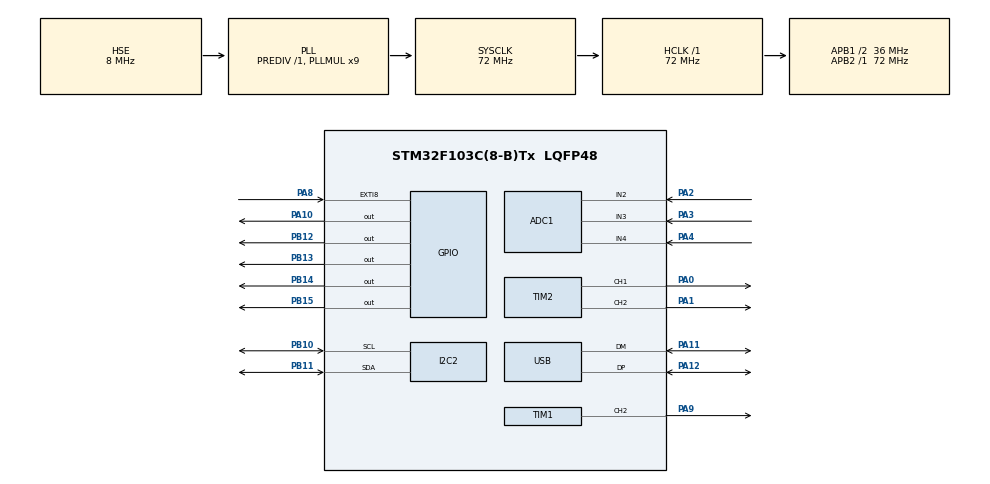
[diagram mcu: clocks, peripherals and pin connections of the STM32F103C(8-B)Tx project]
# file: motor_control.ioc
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ADC1.Channel-0\#ChannelRegularConversion=ADC_CHANNEL_2
ADC1.NbrOfConversionFlag=1
ADC1.Rank-0\#ChannelRegularConversion=1
ADC1.SamplingTime-0\#ChannelRegularConversion=ADC_SAMPLETIME_1CYCLE_5
ADC1.master=1
Mcu.Family=STM32F1
Mcu.Name=STM32F103C(8-B)Tx
Mcu.Package=LQFP48
NVIC.PriorityGroup=NVIC_PRIORITYGROUP_4
NVIC.USB_LP_CAN1_RX0_IRQn=true\:0\:0\:false\:false\:true\:false\:true\:true
PA0-WKUP.Signal=S_TIM2_CH1_ETR
PA1.Signal=S_TIM2_CH2
PA10.Signal=GPIO_Output
PA11.Mode=Device
PA11.Signal=USB_DM
PA12.Mode=Device
PA12.Signal=USB_DP
PA13.Mode=Serial_Wire
PA13.Signal=SYS_JTMS-SWDIO
PA14.Mode=Serial_Wire
PA14.Signal=SYS_JTCK-SWCLK
PA2.Signal=ADCx_IN2
PA3.Signal=ADCx_IN3
PA4.Signal=ADCx_IN4
PA6.Signal=S_TIM3_CH1
PA7.Signal=S_TIM3_CH2
PA8.GPIO_ModeDefaultEXTI=GPIO_MODE_IT_RISING_FALLING
PA8.Signal=GPXTI8
PA9.Signal=S_TIM1_CH2
PB10.Mode=I2C
PB10.Signal=I2C2_SCL
PB11.Mode=I2C
PB11.Signal=I2C2_SDA
PB12.Signal=GPIO_Output
PB13.Signal=GPIO_Output
PB14.Signal=GPIO_Output
PB15.Signal=GPIO_Output
PB6.Signal=S_TIM4_CH1
PB7.Signal=S_TIM4_CH2
PD0-OSC_IN.Mode=HSE-External-Oscillator
PD0-OSC_IN.Signal=RCC_OSC_IN
PD1-OSC_OUT.Mode=HSE-External-Oscillator
PD1-OSC_OUT.Signal=RCC_OSC_OUT
ProjectManager.HeapSize=0x200
ProjectManager.StackSize=0x400
ProjectManager.TargetToolchain=CMake
RCC.ADCPresc=RCC_ADCPCLK2_DIV6
RCC.AHBFreq_Value=72000000
RCC.APB1CLKDivider=RCC_HCLK_DIV2
RCC.APB1Freq_Value=36000000
RCC.APB1TimFreq_Value=72000000
RCC.APB2Freq_Value=72000000
RCC.APB2TimFreq_Value=72000000
RCC.HCLKFreq_Value=72000000
RCC.PLLMUL=RCC_PLL_MUL9
RCC.SYSCLKFreq_VALUE=72000000
RCC.SYSCLKSource=RCC_SYSCLKSOURCE_PLLCLK
RCC.USBFreq_Value=48000000
RCC.USBPrescaler=RCC_USBCLKSOURCE_PLL_DIV1_5
SH.ADCx_IN2.0=ADC1_IN2,IN2
SH.ADCx_IN3.0=ADC1_IN3,IN3
SH.ADCx_IN4.0=ADC1_IN4,IN4
SH.S_TIM1_CH2.0=TIM1_CH2,PWM Generation2 CH2
SH.S_TIM2_CH1_ETR.0=TIM2_CH1,PWM Generation1 CH1
SH.S_TIM2_CH2.0=TIM2_CH2,PWM Generation2 CH2
SH.S_TIM3_CH1.0=TIM3_CH1
SH.S_TIM3_CH2.0=TIM3_CH2
SH.S_TIM4_CH1.0=TIM4_CH1
SH.S_TIM4_CH2.0=TIM4_CH2
TIM1.Channel-PWM\ Generation2\ CH2=TIM_CHANNEL_2
TIM2.Channel-PWM\ Generation1\ CH1=TIM_CHANNEL_1
TIM2.Channel-PWM\ Generation2\ CH2=TIM_CHANNEL_2
USB_DEVICE.CLASS_NAME_FS=CDC
USB_DEVICE.VirtualMode=Cdc
USB_DEVICE.VirtualModeFS=Cdc_FS
VP_TIM1_VS_ClockSourceINT.Mode=Internal
VP_TIM2_VS_ClockSourceINT.Mode=Internal
VP_USB_DEVICE_VS_USB_DEVICE_CDC_FS.Mode=CDC_FS
board=custom

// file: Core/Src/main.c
/* USER CODE BEGIN Header */
/**
  ******************************************************************************
  * @file           : main.c
  * @brief          : Main program body
  ******************************************************************************
  * @attention
  *
  * Copyright (c) 2026 STMicroelectronics.
  * All rights reserved.
  *
  * This software is licensed under terms that can be found in the LICENSE file
  * in the root directory of this software component.
  * If no LICENSE file comes with this software, it is provided AS-IS.
  *
  ******************************************************************************
  */
/* USER CODE END Header */
#include "main.h"
#include "usb_device.h"

/* USER CODE BEGIN Includes */
#include "usbd_cdc_if.h"
/* USER CODE END Includes */

ADC_HandleTypeDef hadc1;

I2C_HandleTypeDef hi2c2;

TIM_HandleTypeDef htim1;
TIM_HandleTypeDef htim2;

/* USER CODE BEGIN PV */
static uint32_t last_heartbeat_tick = 0;
static volatile uint32_t sonar_echo_start = 0;
static volatile uint8_t sonar_measuring = 0;
static volatile float sonar_distance_cm = 0;
static uint32_t last_sonar_trigger_tick = 0;

#define SONAR_TRIGGER_INTERVAL_MS  100
#define SONAR_TIMEOUT_MS          25
#define SONAR_SAFETY_DIST_CM      10.0f

static volatile uint32_t adc_values[3] = {0};
DMA_HandleTypeDef hdma_adc1;

#define LEFT_IN1_PIN   GPIO_PIN_12
#define LEFT_IN2_PIN   GPIO_PIN_13
#define RIGHT_IN3_PIN  GPIO_PIN_14
#define RIGHT_IN4_PIN  GPIO_PIN_15
#define MOTOR_PORT     GPIOB
#define TIM2_ARR       35999
/* USER CODE END PV */

void SystemClock_Config(void);
static void MX_GPIO_Init(void);
static void MX_ADC1_Init(void);
static void MX_I2C2_Init(void);
static void MX_TIM1_Init(void);
static void MX_TIM2_Init(void);
/* USER CODE BEGIN PFP */
void HAL_GPIO_EXTI_Callback(uint16_t GPIO_Pin);
/* USER CODE END PFP */

int main(void)
{

  /* MCU Configuration--------------------------------------------------------*/

  /* Reset of all peripherals, Initializes the Flash interface and the Systick. */
  HAL_Init();

  /* Configure the system clock */
  SystemClock_Config();

  /* Initialize all configured peripherals */
  MX_GPIO_Init();
  MX_ADC1_Init();
  MX_I2C2_Init();
  MX_TIM1_Init();
  MX_TIM2_Init();
  MX_USB_DEVICE_Init();
  /* USER CODE BEGIN 2 */
  CoreDebug->DEMCR |= CoreDebug_DEMCR_TRCENA_Msk;
  DWT->CTRL |= DWT_CTRL_CYCCNTENA_Msk;
  DWT->CYCCNT = 0;

  __HAL_RCC_DMA1_CLK_ENABLE();
  hdma_adc1.Instance = DMA1_Channel1;
  hdma_adc1.Init.Direction = DMA_PERIPH_TO_MEMORY;
  hdma_adc1.Init.PeriphInc = DMA_PINC_DISABLE;
  hdma_adc1.Init.MemInc = DMA_MINC_ENABLE;
  hdma_adc1.Init.PeriphDataAlignment = DMA_PDATAALIGN_WORD;
  hdma_adc1.Init.MemDataAlignment = DMA_MDATAALIGN_WORD;
  hdma_adc1.Init.Mode = DMA_CIRCULAR;
  hdma_adc1.Init.Priority = DMA_PRIORITY_LOW;
  HAL_DMA_Init(&hdma_adc1);
  __HAL_LINKDMA(&hadc1, DMA_Handle, hdma_adc1);

  HAL_ADC_Start_DMA(&hadc1, (uint32_t*)adc_values, 3);

  HAL_TIM_PWM_Start(&htim2, TIM_CHANNEL_1);
  HAL_TIM_PWM_Start(&htim2, TIM_CHANNEL_2);
  HAL_TIM_PWM_Start(&htim1, TIM_CHANNEL_2);
  /* USER CODE END 2 */

  /* Infinite loop */
  while (1)
  {

    /* USER CODE BEGIN 3 */
    uint32_t now = HAL_GetTick();

    if (now - last_sonar_trigger_tick >= SONAR_TRIGGER_INTERVAL_MS) {
      last_sonar_trigger_tick = now;
      sonar_measuring = 1;
      HAL_GPIO_WritePin(GPIOA, GPIO_PIN_10, GPIO_PIN_SET);
      uint32_t t = DWT->CYCCNT;
      while ((DWT->CYCCNT - t) < (72 * 10)); // 10us @ 72MHz
      HAL_GPIO_WritePin(GPIOA, GPIO_PIN_10, GPIO_PIN_RESET);
    }

    if (sonar_measuring && (now - last_sonar_trigger_tick >= SONAR_TIMEOUT_MS)) {
      sonar_measuring = 0;
      sonar_distance_cm = -1.0f;
    }

    uint32_t joy_x = adc_values[0]; // PA0
    uint32_t joy_y = adc_values[1]; // PA1
    uint32_t pot_speed = adc_values[2]; // PA2
    uint8_t safety_stop = (sonar_distance_cm > 0 && sonar_distance_cm < SONAR_SAFETY_DIST_CM);

    int32_t left_pwm, right_pwm;

    if (safety_stop) {
      left_pwm = 0;
      right_pwm = 0;
    } else {
      float v_base = ((float)pot_speed / 4095.0f) * TIM2_ARR;
      float joy_x_norm = ((int32_t)joy_x - 2047) / 2047.0f;
      float delta_v = joy_x_norm * v_base;

      float joy_y_norm = ((int32_t)joy_y - 2047) / 2047.0f;
      float v_y = joy_y_norm * v_base;

      left_pwm  = (int32_t)(v_y + delta_v);
      right_pwm = (int32_t)(v_y - delta_v);

      if (left_pwm > TIM2_ARR)  left_pwm = TIM2_ARR;
      if (left_pwm < -TIM2_ARR) left_pwm = -TIM2_ARR;
      if (right_pwm > TIM2_ARR) right_pwm = TIM2_ARR;
      if (right_pwm < -TIM2_ARR) right_pwm = -TIM2_ARR;
    }

    if (left_pwm >= 0) {
      HAL_GPIO_WritePin(MOTOR_PORT, LEFT_IN1_PIN,  GPIO_PIN_SET);
      HAL_GPIO_WritePin(MOTOR_PORT, LEFT_IN2_PIN,  GPIO_PIN_RESET);
      __HAL_TIM_SET_COMPARE(&htim2, TIM_CHANNEL_1, left_pwm);
    } else {
      HAL_GPIO_WritePin(MOTOR_PORT, LEFT_IN1_PIN,  GPIO_PIN_RESET);
      HAL_GPIO_WritePin(MOTOR_PORT, LEFT_IN2_PIN,  GPIO_PIN_SET);
      __HAL_TIM_SET_COMPARE(&htim2, TIM_CHANNEL_1, -left_pwm);
    }

    if (right_pwm >= 0) {
      HAL_GPIO_WritePin(MOTOR_PORT, RIGHT_IN3_PIN, GPIO_PIN_SET);
      HAL_GPIO_WritePin(MOTOR_PORT, RIGHT_IN4_PIN, GPIO_PIN_RESET);
      __HAL_TIM_SET_COMPARE(&htim2, TIM_CHANNEL_2, right_pwm);
    } else {
      HAL_GPIO_WritePin(MOTOR_PORT, RIGHT_IN3_PIN, GPIO_PIN_RESET);
      HAL_GPIO_WritePin(MOTOR_PORT, RIGHT_IN4_PIN, GPIO_PIN_SET);
      __HAL_TIM_SET_COMPARE(&htim2, TIM_CHANNEL_2, -right_pwm);
    }

    if (now - last_heartbeat_tick >= 100) {
      last_heartbeat_tick = now;
      printf("$DATA,%ld,%ld,%.1f,%d\n",
             (int32_t)left_pwm, (int32_t)right_pwm,
             (double)sonar_distance_cm, safety_stop ? 1 : 0);
    }

    CDC_Flush_Tx();
  }
  /* USER CODE END 3 */
}

void SystemClock_Config(void)
{
  RCC_OscInitTypeDef RCC_OscInitStruct = {0};
  RCC_ClkInitTypeDef RCC_ClkInitStruct = {0};
  RCC_PeriphCLKInitTypeDef PeriphClkInit = {0};

  /** Initializes the RCC Oscillators according to the specified parameters
  * in the RCC_OscInitTypeDef structure.
  */
  RCC_OscInitStruct.OscillatorType = RCC_OSCILLATORTYPE_HSE;
  RCC_OscInitStruct.HSEState = RCC_HSE_ON;
  RCC_OscInitStruct.HSEPredivValue = RCC_HSE_PREDIV_DIV1;
  RCC_OscInitStruct.HSIState = RCC_HSI_ON;
  RCC_OscInitStruct.PLL.PLLState = RCC_PLL_ON;
  RCC_OscInitStruct.PLL.PLLSource = RCC_PLLSOURCE_HSE;
  RCC_OscInitStruct.PLL.PLLMUL = RCC_PLL_MUL9;
  if (HAL_RCC_OscConfig(&RCC_OscInitStruct) != HAL_OK)
  {
    Error_Handler();
  }

  /** Initializes the CPU, AHB and APB buses clocks
  */
  RCC_ClkInitStruct.ClockType = RCC_CLOCKTYPE_HCLK|RCC_CLOCKTYPE_SYSCLK
                              |RCC_CLOCKTYPE_PCLK1|RCC_CLOCKTYPE_PCLK2;
  RCC_ClkInitStruct.SYSCLKSource = RCC_SYSCLKSOURCE_PLLCLK;
  RCC_ClkInitStruct.AHBCLKDivider = RCC_SYSCLK_DIV1;
  RCC_ClkInitStruct.APB1CLKDivider = RCC_HCLK_DIV2;
  RCC_ClkInitStruct.APB2CLKDivider = RCC_HCLK_DIV1;

  if (HAL_RCC_ClockConfig(&RCC_ClkInitStruct, FLASH_LATENCY_2) != HAL_OK)
  {
    Error_Handler();
  }
  PeriphClkInit.PeriphClockSelection = RCC_PERIPHCLK_ADC|RCC_PERIPHCLK_USB;
  PeriphClkInit.AdcClockSelection = RCC_ADCPCLK2_DIV6;
  PeriphClkInit.UsbClockSelection = RCC_USBCLKSOURCE_PLL_DIV1_5;
  if (HAL_RCCEx_PeriphCLKConfig(&PeriphClkInit) != HAL_OK)
  {
    Error_Handler();
  }
}

static void MX_ADC1_Init(void)
{

  ADC_ChannelConfTypeDef sConfig = {0};

  /* USER CODE BEGIN ADC1_Init 1 */
  hadc1.Init.ContinuousConvMode = ENABLE;
  hadc1.Init.ScanConvMode = ENABLE;
  hadc1.Init.NbrOfConversion = 3;
  /* USER CODE END ADC1_Init 1 */

  /** Common config
  */
  hadc1.Instance = ADC1;
  hadc1.Init.ScanConvMode = ADC_SCAN_DISABLE;
  hadc1.Init.ContinuousConvMode = DISABLE;
  hadc1.Init.DiscontinuousConvMode = DISABLE;
  hadc1.Init.ExternalTrigConv = ADC_SOFTWARE_START;
  hadc1.Init.DataAlign = ADC_DATAALIGN_RIGHT;
  hadc1.Init.NbrOfConversion = 1;
  if (HAL_ADC_Init(&hadc1) != HAL_OK)
  {
    Error_Handler();
  }

  /** Configure Regular Channel
  */
  sConfig.Channel = ADC_CHANNEL_2;
  sConfig.Rank = ADC_REGULAR_RANK_1;
  sConfig.SamplingTime = ADC_SAMPLETIME_1CYCLE_5;
  if (HAL_ADC_ConfigChannel(&hadc1, &sConfig) != HAL_OK)
  {
    Error_Handler();
  }
  /* USER CODE BEGIN ADC1_Init 2 */
  hadc1.Init.ContinuousConvMode = ENABLE;
  hadc1.Init.ScanConvMode = ENABLE;
  hadc1.Init.NbrOfConversion = 3;

  sConfig.Channel = ADC_CHANNEL_0;
  sConfig.Rank = ADC_REGULAR_RANK_2;
  sConfig.SamplingTime = ADC_SAMPLETIME_1CYCLE_5;
  if (HAL_ADC_ConfigChannel(&hadc1, &sConfig) != HAL_OK) {
    Error_Handler();
  }

  sConfig.Channel = ADC_CHANNEL_1;
  sConfig.Rank = ADC_REGULAR_RANK_3;
  if (HAL_ADC_ConfigChannel(&hadc1, &sConfig) != HAL_OK) {
    Error_Handler();
  }
  /* USER CODE END ADC1_Init 2 */

}

static void MX_I2C2_Init(void)
{

  hi2c2.Instance = I2C2;
  hi2c2.Init.ClockSpeed = 100000;
  hi2c2.Init.DutyCycle = I2C_DUTYCYCLE_2;
  hi2c2.Init.OwnAddress1 = 0;
  hi2c2.Init.AddressingMode = I2C_ADDRESSINGMODE_7BIT;
  hi2c2.Init.DualAddressMode = I2C_DUALADDRESS_DISABLE;
  hi2c2.Init.OwnAddress2 = 0;
  hi2c2.Init.GeneralCallMode = I2C_GENERALCALL_DISABLE;
  hi2c2.Init.NoStretchMode = I2C_NOSTRETCH_DISABLE;
  if (HAL_I2C_Init(&hi2c2) != HAL_OK)
  {
    Error_Handler();
  }

}

static void MX_TIM1_Init(void)
{

  TIM_ClockConfigTypeDef sClockSourceConfig = {0};
  TIM_MasterConfigTypeDef sMasterConfig = {0};
  TIM_OC_InitTypeDef sConfigOC = {0};
  TIM_BreakDeadTimeConfigTypeDef sBreakDeadTimeConfig = {0};

  /* USER CODE BEGIN TIM1_Init 1 */
  htim1.Init.Period = 1439999; // 50Hz for servo PWM
  /* USER CODE END TIM1_Init 1 */
  htim1.Instance = TIM1;
  htim1.Init.Prescaler = 0;
  htim1.Init.CounterMode = TIM_COUNTERMODE_UP;
  htim1.Init.Period = 65535;
  htim1.Init.ClockDivision = TIM_CLOCKDIVISION_DIV1;
  htim1.Init.RepetitionCounter = 0;
  htim1.Init.AutoReloadPreload = TIM_AUTORELOAD_PRELOAD_DISABLE;
  if (HAL_TIM_Base_Init(&htim1) != HAL_OK)
  {
    Error_Handler();
  }
  sClockSourceConfig.ClockSource = TIM_CLOCKSOURCE_INTERNAL;
  if (HAL_TIM_ConfigClockSource(&htim1, &sClockSourceConfig) != HAL_OK)
  {
    Error_Handler();
  }
  if (HAL_TIM_PWM_Init(&htim1) != HAL_OK)
  {
    Error_Handler();
  }
  sMasterConfig.MasterOutputTrigger = TIM_TRGO_RESET;
  sMasterConfig.MasterSlaveMode = TIM_MASTERSLAVEMODE_DISABLE;
  if (HAL_TIMEx_MasterConfigSynchronization(&htim1, &sMasterConfig) != HAL_OK)
  {
    Error_Handler();
  }
  sConfigOC.OCMode = TIM_OCMODE_PWM1;
  sConfigOC.Pulse = 0;
  sConfigOC.OCPolarity = TIM_OCPOLARITY_HIGH;
  sConfigOC.OCNPolarity = TIM_OCNPOLARITY_HIGH;
  sConfigOC.OCFastMode = TIM_OCFAST_DISABLE;
  sConfigOC.OCIdleState = TIM_OCIDLESTATE_RESET;
  sConfigOC.OCNIdleState = TIM_OCNIDLESTATE_RESET;
  if (HAL_TIM_PWM_ConfigChannel(&htim1, &sConfigOC, TIM_CHANNEL_2) != HAL_OK)
  {
    Error_Handler();
  }
  sBreakDeadTimeConfig.OffStateRunMode = TIM_OSSR_DISABLE;
  sBreakDeadTimeConfig.OffStateIDLEMode = TIM_OSSI_DISABLE;
  sBreakDeadTimeConfig.LockLevel = TIM_LOCKLEVEL_OFF;
  sBreakDeadTimeConfig.DeadTime = 0;
  sBreakDeadTimeConfig.BreakState = TIM_BREAK_DISABLE;
  sBreakDeadTimeConfig.BreakPolarity = TIM_BREAKPOLARITY_HIGH;
  sBreakDeadTimeConfig.AutomaticOutput = TIM_AUTOMATICOUTPUT_DISABLE;
  if (HAL_TIMEx_ConfigBreakDeadTime(&htim1, &sBreakDeadTimeConfig) != HAL_OK)
  {
    Error_Handler();
  }
  HAL_TIM_MspPostInit(&htim1);

}

static void MX_TIM2_Init(void)
{

  TIM_ClockConfigTypeDef sClockSourceConfig = {0};
  TIM_MasterConfigTypeDef sMasterConfig = {0};
  TIM_OC_InitTypeDef sConfigOC = {0};

  /* USER CODE BEGIN TIM2_Init 1 */
  htim2.Init.Period = 35999; // 20kHz for L298N motor PWM (PCLK1=36MHz)
  /* USER CODE END TIM2_Init 1 */
  htim2.Instance = TIM2;
  htim2.Init.Prescaler = 0;
  htim2.Init.CounterMode = TIM_COUNTERMODE_UP;
  htim2.Init.Period = 65535;
  htim2.Init.ClockDivision = TIM_CLOCKDIVISION_DIV1;
  htim2.Init.AutoReloadPreload = TIM_AUTORELOAD_PRELOAD_DISABLE;
  if (HAL_TIM_Base_Init(&htim2) != HAL_OK)
  {
    Error_Handler();
  }
  sClockSourceConfig.ClockSource = TIM_CLOCKSOURCE_INTERNAL;
  if (HAL_TIM_ConfigClockSource(&htim2, &sClockSourceConfig) != HAL_OK)
  {
    Error_Handler();
  }
  if (HAL_TIM_PWM_Init(&htim2) != HAL_OK)
  {
    Error_Handler();
  }
  sMasterConfig.MasterOutputTrigger = TIM_TRGO_RESET;
  sMasterConfig.MasterSlaveMode = TIM_MASTERSLAVEMODE_DISABLE;
  if (HAL_TIMEx_MasterConfigSynchronization(&htim2, &sMasterConfig) != HAL_OK)
  {
    Error_Handler();
  }
  sConfigOC.OCMode = TIM_OCMODE_PWM1;
  sConfigOC.Pulse = 0;
  sConfigOC.OCPolarity = TIM_OCPOLARITY_HIGH;
  sConfigOC.OCFastMode = TIM_OCFAST_DISABLE;
  if (HAL_TIM_PWM_ConfigChannel(&htim2, &sConfigOC, TIM_CHANNEL_1) != HAL_OK)
  {
    Error_Handler();
  }
  if (HAL_TIM_PWM_ConfigChannel(&htim2, &sConfigOC, TIM_CHANNEL_2) != HAL_OK)
  {
    Error_Handler();
  }
  HAL_TIM_MspPostInit(&htim2);

}

static void MX_GPIO_Init(void)
{
  GPIO_InitTypeDef GPIO_InitStruct = {0};
  /* USER CODE BEGIN MX_GPIO_Init_1 */
  __HAL_RCC_GPIOB_CLK_ENABLE();
  /* USER CODE END MX_GPIO_Init_1 */

  /* GPIO Ports Clock Enable */
  __HAL_RCC_GPIOD_CLK_ENABLE();
  __HAL_RCC_GPIOA_CLK_ENABLE();
  __HAL_RCC_GPIOB_CLK_ENABLE();

  /*Configure GPIO pin Output Level */
  HAL_GPIO_WritePin(GPIOB, GPIO_PIN_12|GPIO_PIN_13|GPIO_PIN_14|GPIO_PIN_15, GPIO_PIN_RESET);

  /*Configure GPIO pin Output Level */
  HAL_GPIO_WritePin(GPIOA, GPIO_PIN_10, GPIO_PIN_RESET);

  /*Configure GPIO pins : PA6 PA7 */
  GPIO_InitStruct.Pin = GPIO_PIN_6|GPIO_PIN_7;
  GPIO_InitStruct.Mode = GPIO_MODE_AF_PP;
  GPIO_InitStruct.Speed = GPIO_SPEED_FREQ_LOW;
  HAL_GPIO_Init(GPIOA, &GPIO_InitStruct);

  /*Configure GPIO pins : PB12 PB13 PB14 PB15 */
  GPIO_InitStruct.Pin = GPIO_PIN_12|GPIO_PIN_13|GPIO_PIN_14|GPIO_PIN_15;
  GPIO_InitStruct.Mode = GPIO_MODE_OUTPUT_PP;
  GPIO_InitStruct.Pull = GPIO_NOPULL;
  GPIO_InitStruct.Speed = GPIO_SPEED_FREQ_LOW;
  HAL_GPIO_Init(GPIOB, &GPIO_InitStruct);

  /*Configure GPIO pin : PA8 */
  GPIO_InitStruct.Pin = GPIO_PIN_8;
  GPIO_InitStruct.Mode = GPIO_MODE_IT_RISING_FALLING;
  GPIO_InitStruct.Pull = GPIO_NOPULL;
  HAL_GPIO_Init(GPIOA, &GPIO_InitStruct);

  /*Configure GPIO pin : PA10 */
  GPIO_InitStruct.Pin = GPIO_PIN_10;
  GPIO_InitStruct.Mode = GPIO_MODE_OUTPUT_PP;
  GPIO_InitStruct.Pull = GPIO_NOPULL;
  GPIO_InitStruct.Speed = GPIO_SPEED_FREQ_LOW;
  HAL_GPIO_Init(GPIOA, &GPIO_InitStruct);

  /*Configure GPIO pins : PB6 PB7 */
  GPIO_InitStruct.Pin = GPIO_PIN_6|GPIO_PIN_7;
  GPIO_InitStruct.Mode = GPIO_MODE_AF_PP;
  GPIO_InitStruct.Speed = GPIO_SPEED_FREQ_LOW;
  HAL_GPIO_Init(GPIOB, &GPIO_InitStruct);

}

/* USER CODE BEGIN 4 */
void HAL_GPIO_EXTI_Callback(uint16_t GPIO_Pin)
{
  if (GPIO_Pin == GPIO_PIN_8) {
    if (sonar_measuring) {
      uint32_t now_tick = DWT->CYCCNT;
      if (HAL_GPIO_ReadPin(GPIOA, GPIO_PIN_8) == GPIO_PIN_SET) {
        sonar_echo_start = now_tick;
      } else {
        uint32_t pulse_us = (now_tick - sonar_echo_start) / 72;
        sonar_distance_cm = (pulse_us * 340.0f) / 2000.0f;
        sonar_measuring = 0;
      }
    }
  }
}
/* USER CODE END 4 */

void Error_Handler(void)
{
  __disable_irq();
  while (1)
  {
  }
}
